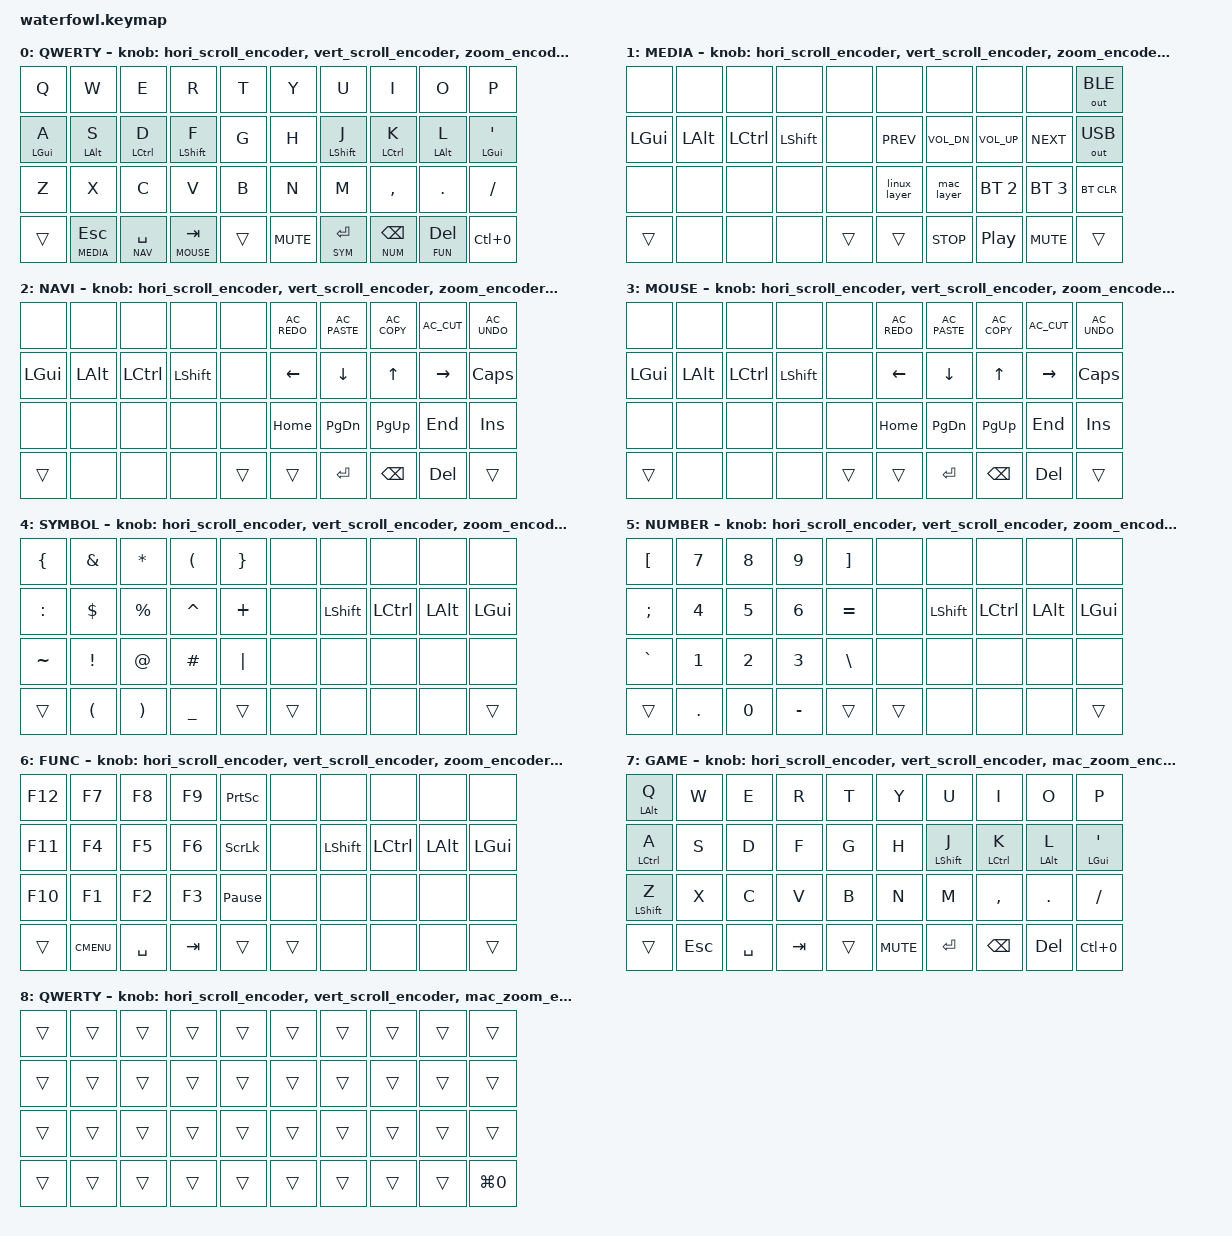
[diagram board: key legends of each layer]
#include <behaviors.dtsi>
#include <dt-bindings/zmk/keys.h>
#include <dt-bindings/zmk/bt.h>
#include <dt-bindings/zmk/ext_power.h>
#include <dt-bindings/zmk/outputs.h>

#include "../../../layers.h"
#include "../../../home_row_mods.dtsi"
#include "../../../encoders.dtsi"
#include "../../../combos.dtsi"

/ {
  keymap {
    compatible = "zmk,keymap";

    default_layer {
      label = "QWERTY";
			bindings = <
// ╭───────────────┬───────────────┬───────────────┬───────────────┬───────────────╮   ╭───────────────┬───────────────┬───────────────┬───────────────┬───────────────╮
	   &kp Q           &kp W           &kp E           &kp R           &kp T               &kp Y           &kp U           &kp I           &kp O           &kp P
// ├───────────────┼───────────────┼───────────────┼───────────────┼───────────────┤   ├───────────────┼───────────────┼───────────────┼───────────────┼───────────────┤
     &hm LGUI A      &hm LALT S      &hm LCTRL D     &hm LSHFT F     &kp G               &kp H           &hm LSHFT J     &hm LCTRL K     &hm LALT L      &hm LGUI SQT
// ├───────────────┼───────────────┼───────────────┼───────────────┼───────────────┤   ├───────────────┼───────────────┼───────────────┼───────────────┼───────────────┤
	   &kp Z           &kp X           &kp C           &kp V           &kp B               &kp N           &kp M           &kp COMMA       &kp DOT         &kp FSLH
// ╰───────────────┴───────────────┴───────────────┼───────────────┼───────────────┤   ├───────────────┼───────────────┼───────────────┴───────────────┴───────────────╯
	   &trans          &lt MEDIA ESC   &lt NAV SPC     &lt MOUSE TAB   &trans              &kp C_MUTE      &lt SYM RET     &lt NUM BSPC    &lt FUN DEL     &kp LC(N0)
// ╰───────────────┴───────────────┴───────────────┴───────────────┴───────────────╯   ╰───────────────┴───────────────┴───────────────┴───────────────┴───────────────╯
>;
    sensor-bindings = <&hori_scroll_encoder &vert_scroll_encoder &zoom_encoder &volume_encoder>;
    };

    media_layer {
      label = "MEDIA";
			bindings = <
// ╭───────────────┬───────────────┬───────────────┬───────────────┬───────────────╮   ╭───────────────┬───────────────┬───────────────┬───────────────┬───────────────╮
     &none           &none           &none           &none           &none               &none           &none           &none           &none           &out OUT_BLE
// ├───────────────┼───────────────┼───────────────┼───────────────┼───────────────┤   ├───────────────┼───────────────┼───────────────┼───────────────┼───────────────┤
	   &kp LGUI        &kp LALT        &kp LCTRL       &kp LSHIFT      &none               &kp C_PREV      &kp C_VOL_DN    &kp C_VOL_UP    &kp C_NEXT      &out OUT_USB
// ├───────────────┼───────────────┼───────────────┼───────────────┼───────────────┤   ├───────────────┼───────────────┼───────────────┼───────────────┼───────────────┤
	   &none           &none           &none           &none           &none               &linux_layer    &mac_layer     &bt BT_SEL 2    &bt BT_SEL 3    &bt BT_CLR
// ╰───────────────┴───────────────┴───────────────┼───────────────┼───────────────┤   ├───────────────┼───────────────┼───────────────┴───────────────┴───────────────╯
	   &trans          &none           &none           &none           &trans              &trans          &kp C_STOP      &kp C_PP        &kp C_MUTE      &trans
// ╰───────────────┴───────────────┴───────────────┴───────────────┴───────────────╯   ╰───────────────┴───────────────┴───────────────┴───────────────┴───────────────╯
>;
    sensor-bindings = <&hori_scroll_encoder &vert_scroll_encoder &zoom_encoder &volume_encoder>;
    };

    nav_layer {
      label = "NAVI";
			bindings = <
// ╭───────────────┬───────────────┬───────────────┬───────────────┬───────────────╮   ╭───────────────┬───────────────┬───────────────┬───────────────┬───────────────╮
	   &none           &none           &none           &none           &none               &kp C_AC_REDO   &kp C_AC_PASTE  &kp C_AC_COPY   &kp C_AC_CUT    &kp C_AC_UNDO
// ├───────────────┼───────────────┼───────────────┼───────────────┼───────────────┤   ├───────────────┼───────────────┼───────────────┼───────────────┼───────────────┤
	   &kp LGUI        &kp LALT        &kp LCTRL       &kp LSHIFT      &none               &kp LEFT        &kp DOWN        &kp UP          &kp RIGHT       &kp CAPSLOCK
// ├───────────────┼───────────────┼───────────────┼───────────────┼───────────────┤   ├───────────────┼───────────────┼───────────────┼───────────────┼───────────────┤
	   &none           &none           &none           &none           &none               &kp HOME        &kp PG_DN       &kp PG_UP       &kp END         &kp INSERT
// ╰───────────────┴───────────────┴───────────────┼───────────────┼───────────────┤   ├───────────────┼───────────────┼───────────────┴───────────────┴───────────────╯
	   &trans          &none           &none           &none           &trans              &trans          &kp RET         &kp BSPC        &kp DEL         &trans
// ╰───────────────┴───────────────┴───────────────┴───────────────┴───────────────╯   ╰───────────────┴───────────────┴───────────────┴───────────────┴───────────────╯
>;
    sensor-bindings = <&hori_scroll_encoder &vert_scroll_encoder &zoom_encoder &volume_encoder>;
    };

    /* This needs to be implemented when mouse keys hits ZMK's main branch */
		mouse_layer {
      label = "MOUSE";
			bindings = <
// ╭───────────────┬───────────────┬───────────────┬───────────────┬───────────────╮   ╭───────────────┬───────────────┬───────────────┬───────────────┬───────────────╮
	   &none           &none           &none           &none           &none               &kp C_AC_REDO   &kp C_AC_PASTE  &kp C_AC_COPY   &kp C_AC_CUT    &kp C_AC_UNDO
// ├───────────────┼───────────────┼───────────────┼───────────────┼───────────────┤   ├───────────────┼───────────────┼───────────────┼───────────────┼───────────────┤
	   &kp LGUI        &kp LALT        &kp LCTRL       &kp LSHIFT      &none               &kp LEFT        &kp DOWN        &kp UP          &kp RIGHT       &kp CAPSLOCK
// ├───────────────┼───────────────┼───────────────┼───────────────┼───────────────┤   ├───────────────┼───────────────┼───────────────┼───────────────┼───────────────┤
	   &none           &none           &none           &none           &none               &kp HOME        &kp PG_DN       &kp PG_UP       &kp END         &kp INSERT
// ╰───────────────┴───────────────┴───────────────┼───────────────┼───────────────┤   ├───────────────┼───────────────┼───────────────┴───────────────┴───────────────╯
	   &trans          &none           &none           &none           &trans              &trans          &kp RET         &kp BSPC        &kp DEL         &trans
// ╰───────────────┴───────────────┴───────────────┴───────────────┴───────────────╯   ╰───────────────┴───────────────┴───────────────┴───────────────┴───────────────╯
>;
    sensor-bindings = <&hori_scroll_encoder &vert_scroll_encoder &zoom_encoder &volume_encoder>;
		};

		sym_layer {
      label = "SYMBOL";
			bindings = <
// ╭───────────────┬───────────────┬───────────────┬───────────────┬───────────────╮   ╭───────────────┬───────────────┬───────────────┬───────────────┬───────────────╮
	   &kp LBRC        &kp AMPS        &kp STAR        &kp LPAR        &kp RBRC            &none           &none           &none           &none           &none
// ├───────────────┼───────────────┼───────────────┼───────────────┼───────────────┤   ├───────────────┼───────────────┼───────────────┼───────────────┼───────────────┤
	   &kp COLON       &kp DLLR        &kp PRCNT       &kp CARET       &kp PLUS            &none           &kp LSHIFT      &kp LCTRL       &kp LALT        &kp LGUI
// ├───────────────┼───────────────┼───────────────┼───────────────┼───────────────┤   ├───────────────┼───────────────┼───────────────┼───────────────┼───────────────┤
	   &kp TILDE       &kp EXCL        &kp AT          &kp POUND       &kp PIPE            &none           &none           &none           &none           &none
// ╰───────────────┴───────────────┴───────────────┼───────────────┼───────────────┤   ├───────────────┼───────────────┼───────────────┴───────────────┴───────────────╯
     &trans          &kp LPAR        &kp RPAR        &kp UNDER        &trans             &trans          &none           &none           &none           &trans
// ╰───────────────┴───────────────┴───────────────┴───────────────┴───────────────╯   ╰───────────────┴───────────────┴───────────────┴───────────────┴───────────────╯
>;
    sensor-bindings = <&hori_scroll_encoder &vert_scroll_encoder &zoom_encoder &volume_encoder>;
		};

		num_layer {
      label = "NUMBER";
			bindings = <
// ╭───────────────┬───────────────┬───────────────┬───────────────┬───────────────╮   ╭───────────────┬───────────────┬───────────────┬───────────────┬───────────────╮
	   &kp LBKT        &kp N7          &kp N8          &kp N9          &kp RBKT            &none           &none           &none           &none           &none
// ├───────────────┼───────────────┼───────────────┼───────────────┼───────────────┤   ├───────────────┼───────────────┼───────────────┼───────────────┼───────────────┤
	   &kp SEMI        &kp N4          &kp N5          &kp N6          &kp EQUAL           &none           &kp LSHIFT      &kp LCTRL       &kp LALT        &kp LGUI
// ├───────────────┼───────────────┼───────────────┼───────────────┼───────────────┤   ├───────────────┼───────────────┼───────────────┼───────────────┼───────────────┤
	   &kp GRAVE       &kp N1          &kp N2          &kp N3          &kp BSLH            &none           &none           &none           &none           &none
// ╰───────────────┴───────────────┴───────────────┼───────────────┼───────────────┤   ├───────────────┼───────────────┼───────────────┴───────────────┴───────────────╯
	   &trans          &kp DOT         &kp N0          &kp MINUS       &trans              &trans          &none           &none           &none           &trans
// ╰───────────────┴───────────────┴───────────────┴───────────────┴───────────────╯   ╰───────────────┴───────────────┴───────────────┴───────────────┴───────────────╯
>;
    sensor-bindings = <&hori_scroll_encoder &vert_scroll_encoder &zoom_encoder &volume_encoder>;
		};

		fun_layer {
      label = "FUNC";
			bindings = <
// ╭───────────────┬───────────────┬───────────────┬───────────────┬───────────────╮   ╭───────────────┬───────────────┬───────────────┬───────────────┬───────────────╮
	   &kp F12         &kp F7          &kp F8          &kp F9          &kp PSCRN           &none           &none           &none          &none            &none
// ├───────────────┼───────────────┼───────────────┼───────────────┼───────────────┤   ├───────────────┼───────────────┼───────────────┼───────────────┼───────────────┤
   	 &kp F11         &kp F4          &kp F5          &kp F6          &kp SLCK            &none           &kp LSHIFT      &kp LCTRL       &kp LALT        &kp LGUI
// ├───────────────┼───────────────┼───────────────┼───────────────┼───────────────┤   ├───────────────┼───────────────┼───────────────┼───────────────┼───────────────┤
   	 &kp F10         &kp F1          &kp F2          &kp F3          &kp PAUSE_BREAK     &none           &none           &none          &none            &none
// ╰───────────────┴───────────────┴───────────────┼───────────────┼───────────────┤   ├───────────────┼───────────────┼───────────────┴───────────────┴───────────────╯
	   &trans          &kp K_CMENU     &kp SPC         &kp TAB         &trans              &trans          &none           &none           &none           &trans
// ╰───────────────┴───────────────┴───────────────┴───────────────┴───────────────╯   ╰───────────────┴───────────────┴───────────────┴───────────────┴───────────────╯
>;
    sensor-bindings = <&hori_scroll_encoder &vert_scroll_encoder &zoom_encoder &volume_encoder>;
		};

    game_layer {
      label = "GAME";
			bindings = <
// ╭───────────────┬───────────────┬───────────────┬───────────────┬───────────────╮   ╭───────────────┬───────────────┬───────────────┬───────────────┬───────────────╮
	   &hm LALT Q      &kp W           &kp E           &kp R           &kp T               &kp Y           &kp U           &kp I           &kp O           &kp P
// ├───────────────┼───────────────┼───────────────┼───────────────┼───────────────┤   ├───────────────┼───────────────┼───────────────┼───────────────┼───────────────┤
     &hm LCTRL A     &kp S           &kp D           &kp F           &kp G               &kp H           &hm LSHFT J     &hm LCTRL K     &hm LALT L      &hm LGUI SQT
// ├───────────────┼───────────────┼───────────────┼───────────────┼───────────────┤   ├───────────────┼───────────────┼───────────────┼───────────────┼───────────────┤
	   &hm LSHFT Z     &kp X           &kp C           &kp V           &kp B               &kp N           &kp M           &kp COMMA       &kp DOT         &kp FSLH
// ╰───────────────┴───────────────┴───────────────┼───────────────┼───────────────┤   ├───────────────┼───────────────┼───────────────┴───────────────┴───────────────╯
	   &trans          &kp ESC         &kp SPC         &kp TAB         &trans              &kp C_MUTE      &kp RET         &kp BSPC        &kp DEL         &kp LC(N0)
// ╰───────────────┴───────────────┴───────────────┴───────────────┴───────────────╯   ╰───────────────┴───────────────┴───────────────┴───────────────┴───────────────╯
>;
    sensor-bindings = <&hori_scroll_encoder &vert_scroll_encoder &mac_zoom_encoder &volume_encoder>;
    };

    mac_layer {
      label = "QWERTY";
			bindings = <
// ╭───────────────┬───────────────┬───────────────┬───────────────┬───────────────╮   ╭───────────────┬───────────────┬───────────────┬───────────────┬───────────────╮
	   &trans          &trans          &trans          &trans          &trans              &trans          &trans          &trans          &trans          &trans
// ├───────────────┼───────────────┼───────────────┼───────────────┼───────────────┤   ├───────────────┼───────────────┼───────────────┼───────────────┼───────────────┤
	   &trans          &trans          &trans          &trans          &trans              &trans          &trans          &trans          &trans          &trans
// ├───────────────┼───────────────┼───────────────┼───────────────┼───────────────┤   ├───────────────┼───────────────┼───────────────┼───────────────┼───────────────┤
	   &trans          &trans          &trans          &trans          &trans              &trans          &trans          &trans          &trans          &trans
// ╰───────────────┴───────────────┴───────────────┼───────────────┼───────────────┤   ├───────────────┼───────────────┼───────────────┴───────────────┴───────────────╯
	   &trans          &trans          &trans          &trans          &trans              &trans          &trans          &trans          &trans          &kp LG(N0)
// ╰───────────────┴───────────────┴───────────────┴───────────────┴───────────────╯   ╰───────────────┴───────────────┴───────────────┴───────────────┴───────────────╯
>;
    sensor-bindings = <&hori_scroll_encoder &vert_scroll_encoder &mac_zoom_encoder &volume_encoder>;
    };
  };
};
